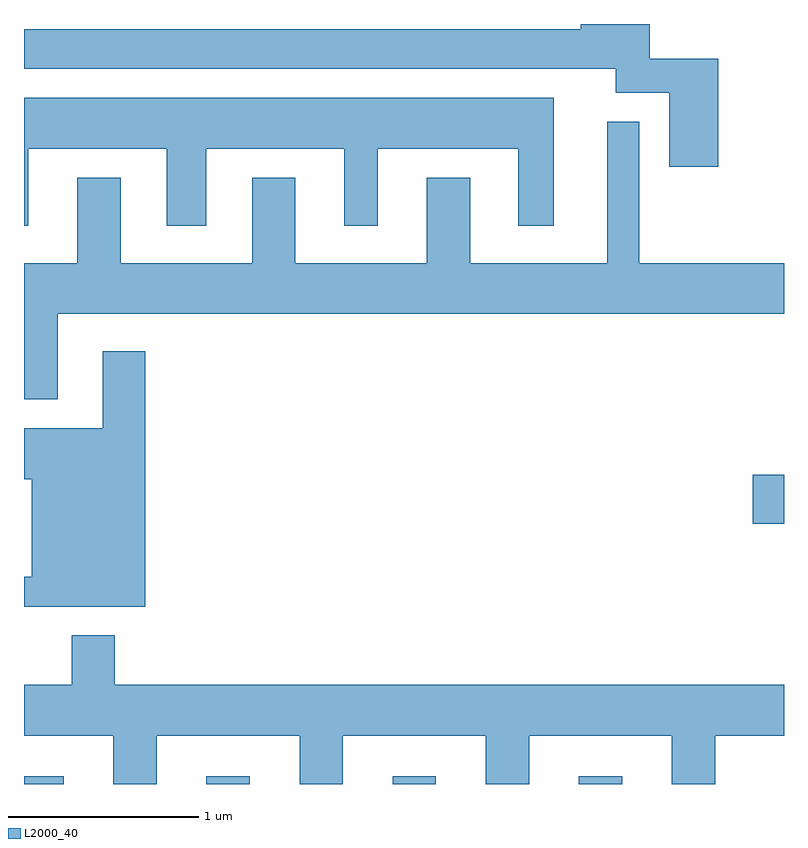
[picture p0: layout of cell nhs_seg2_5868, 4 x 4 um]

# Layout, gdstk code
import gdstk
lib = gdstk.Library(unit=1e-6, precision=1e-09)
def R(c, l, rs):  # rectangles x0, y0, x1, y1
    for r in rs: c.add(gdstk.rectangle(r[:2], r[2:], *l))
def A(c, l, x, y, w, h, nx, ny, dx, dy):  # array of equal rectangles
    R(c, l, [(x+i*dx, y+j*dy, x+i*dx+w, y+j*dy+h) for i in range(nx) for j in range(ny)])
def P(c, l, *ps):  # polygons
    for p in ps: c.add(gdstk.Polygon(p, *l))
L2000_40 = (2000, 40)

nhs_seg2_5868 = lib.new_cell('nhs_seg2_5868')
A(nhs_seg2_5868, L2000_40, 358.571, 1085.802, 0.228, 0.042, 3, 1, 0.98, 0)
R(nhs_seg2_5868, L2000_40, [(357.611,1085.802,357.819,1085.844), (361.446,1087.171,361.611,1087.429)])
P(nhs_seg2_5868, L2000_40, [(361.264,1089.619),(360.904,1089.619),(360.904,1089.802),(360.541,1089.802),(360.541,1089.774),(357.611,1089.774),(357.611,1089.566),(360.726,1089.566),(360.726,1089.441),(361.006,1089.441),(361.006,1089.051),(361.264,1089.051)],
  [(357.634,1089.146),(358.361,1089.146),(358.361,1088.741),(358.569,1088.741),(358.569,1089.146),(359.296,1089.146),(359.296,1088.741),(359.474,1088.741),(359.474,1089.146),(360.211,1089.146),(360.211,1088.741),(360.399,1088.741),(360.399,1089.414),(357.611,1089.414),(357.611,1088.741),(357.634,1088.741)],
  [(357.789,1088.276),(361.611,1088.276),(361.611,1088.544),(360.849,1088.544),(360.849,1089.288),(360.681,1089.288),(360.681,1088.544),(359.959,1088.544),(359.959,1088.994),(359.731,1088.994),(359.731,1088.544),(359.039,1088.544),(359.039,1088.994),(358.811,1088.994),(358.811,1088.544),(358.119,1088.544),(358.119,1088.994),(357.891,1088.994),(357.891,1088.544),(357.611,1088.544),(357.611,1087.826),(357.789,1087.826)],
  [(358.249,1088.079),(358.026,1088.079),(358.026,1087.674),(357.611,1087.674),(357.611,1087.406),(357.651,1087.406),(357.651,1086.894),(357.611,1086.894),(357.611,1086.736),(358.249,1086.736)],
  [(358.309,1086.056),(359.061,1086.056),(359.061,1085.802),(359.289,1085.802),(359.289,1086.056),(360.041,1086.056),(360.041,1085.802),(360.269,1085.802),(360.269,1086.056),(361.021,1086.056),(361.021,1085.802),(361.249,1085.802),(361.249,1086.056),(361.611,1086.056),(361.611,1086.324),(358.089,1086.324),(358.089,1086.584),(357.861,1086.584),(357.861,1086.324),(357.611,1086.324),(357.611,1086.056),(358.081,1086.056),(358.081,1085.802),(358.309,1085.802)])

lib.write_gds('nhs_seg2_5868.gds')
